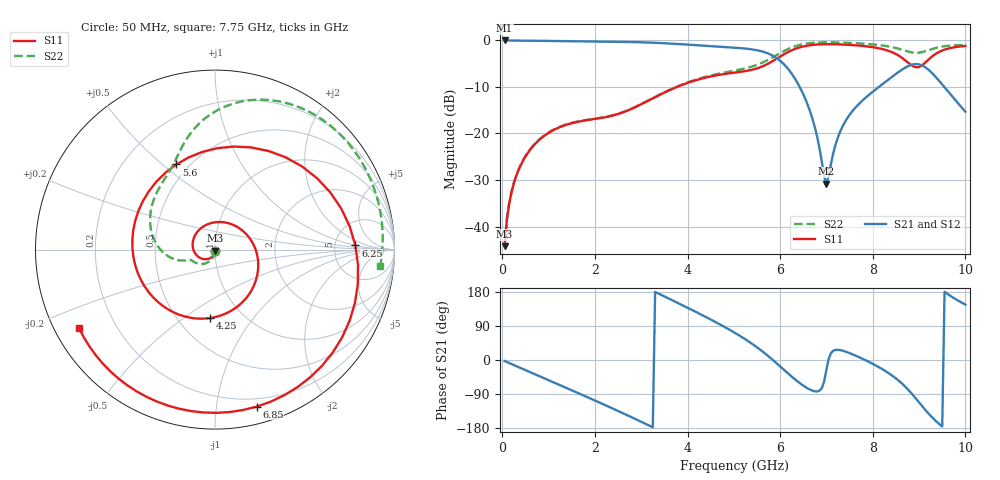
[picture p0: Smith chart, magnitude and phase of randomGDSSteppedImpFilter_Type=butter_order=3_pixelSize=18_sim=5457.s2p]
! freq	dB(S11)	phase(S11)	dB(S12)	phase(S12)
!  dB(S21)	phase(S21)	dB(S22)	phase(S22)
!S-par simulation data
#  GHz  S  DB  R 50
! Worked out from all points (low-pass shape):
!   200 points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, 50 MHz to 10 GHz, reference 50 ohm
!   highest |S21| = -0.02 dB at 50 MHz (marker M1); lowest = -30.8 dB at 7 GHz (marker M2)
!   |S21| within 3 dB of the highest: start of sweep to 5.785 GHz
!   lowest |S11| = -44.2 dB at 50 MHz (marker M3), VSWR 1.01, Z = 50.1 - j0.602 ohm
!   |S11| at or under -10 dB: start of sweep to 3.773 GHz
!   |S22| runs from -44.2 to -0.4 dB; largest |S21 - S12| = 0
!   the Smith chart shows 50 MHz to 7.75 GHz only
!   S11 on the Smith chart (normalised r, x): 50 MHz: 1.00, -0.01; 4.25 GHz: 0.71, -0.64; 5.6 GHz: 0.43, +0.56; 6.25 GHz: 8.07, +0.96; 6.85 GHz: 0.13, -1.29; 7.75 GHz: 0.07, -0.27
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0.05  -44.22 -77.4  -0.02 -2.7  -0.02 -2.7  -44.16 -76.2
0.2  -32.58 -97.9  -0.04 -10.7  -0.04 -10.7  -32.49 -93.1
0.5  -24.95 -121.1  -0.06 -26.7  -0.06 -26.7  -24.84 -108.9
1.75  -17.27 143.5  -0.20 -93.3  -0.20 -93.3  -17.21 -151.4
2.7  -15.09 46.8  -0.33 -145.8  -0.33 -145.8  -15.07 -160.0
3.4  -11.69 -22.3  -0.57 173.7  -0.57 173.7  -11.66 -171.5
4.25  -8.36 -93.8  -1.07 122.6  -1.07 122.6  -8.22 158.4
5.05  -6.88 -168.7  -1.59 69.7  -1.59 69.7  -6.43 127.6
5.6  -5.66 114.4  -2.35 24.3  -2.35 24.3  -4.87 110.9
5.9  -4.09 61.7  -3.65 -6.1  -3.65 -6.1  -3.30 99.7
6.25  -2.13 1.7  -7.17 -43.9  -7.17 -43.9  -1.52 79.7
6.7  -0.98 -59.1  -16.93 -81.0  -16.93 -81.0  -0.54 50.3
6.85  -0.86 -75.1  -23.18 -80.9  -23.18 -80.9  -0.46 41.2
7  -0.82 -89.5  -30.78 -24.8  -30.78 -24.8  -0.43 32.5
7.3  -0.87 -115.1  -19.51 26.1  -19.51 26.1  -0.47 16.4
7.75  -1.16 -149.9  -13.18 4.8  -13.18 4.8  -0.68 -5.8
8.35  -2.29 155.0  -8.33 -35.3  -8.33 -35.3  -1.33 -33.1
8.75  -4.68 85.2  -5.59 -76.4  -5.59 -76.4  -2.35 -47.0
9.05  -5.45 -11.9  -5.32 -119.4  -5.32 -119.4  -2.55 -50.7
9.25  -3.71 -68.6  -6.73 -147.5  -6.73 -147.5  -1.94 -55.5
9.4  -2.65 -98.1  -8.32 -165.2  -8.32 -165.2  -1.51 -61.7
10  -1.20 -163.2  -15.34 146.1  -15.34 146.1  -1.04 -92.3
